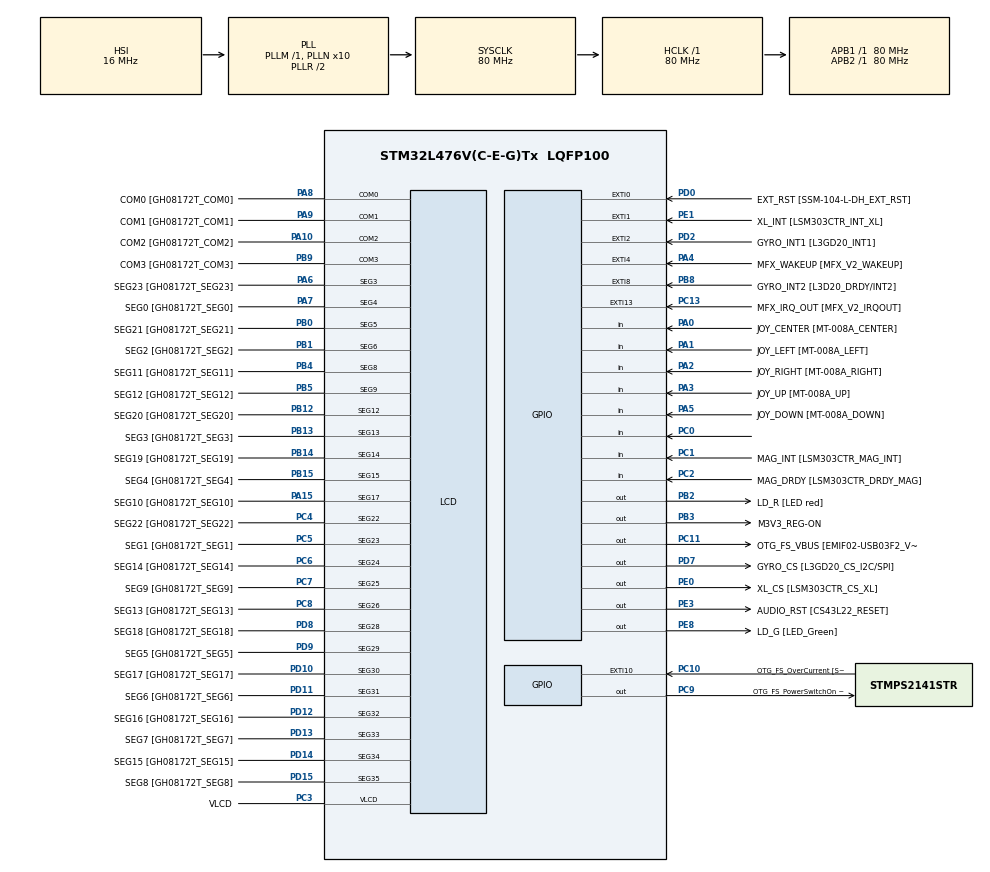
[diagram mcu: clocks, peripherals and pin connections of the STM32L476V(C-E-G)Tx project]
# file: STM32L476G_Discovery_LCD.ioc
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LCD.Bias=LCD_BIAS_1_3
LCD.Contrast=LCD_CONTRASTLEVEL_5
LCD.Divider=LCD_DIVIDER_31
LCD.PulseOnDuration=LCD_PULSEONDURATION_5
Mcu.Family=STM32L4
Mcu.Name=STM32L476V(C-E-G)Tx
Mcu.Package=LQFP100
NVIC.PriorityGroup=NVIC_PRIORITYGROUP_4
PA0.GPIO_Label=JOY_CENTER [MT-008A_CENTER]
PA0.GPIO_Mode=GPIO_MODE_INPUT
PA0.GPIO_PuPd=GPIO_PULLDOWN
PA0.Signal=GPIO_Input
PA1.GPIO_Label=JOY_LEFT [MT-008A_LEFT]
PA1.GPIO_Mode=GPIO_MODE_INPUT
PA1.GPIO_PuPd=GPIO_PULLDOWN
PA1.Signal=GPIO_Input
PA10.GPIO_Label=COM2 [GH08172T_COM2]
PA10.GPIO_Mode=GPIO_MODE_AF_PP
PA10.GPIO_PuPd=GPIO_NOPULL
PA10.GPIO_Speed=GPIO_SPEED_FREQ_LOW
PA10.Mode=1/4 Duty Cycle
PA10.Signal=LCD_COM2
PA11.GPIO_Label=OTG_FS_DM [EMIF02-USB03F2_D-out]
PA11.GPIO_Mode=GPIO_MODE_AF_PP
PA11.GPIO_PuPd=GPIO_NOPULL
PA11.GPIO_Speed=GPIO_SPEED_FREQ_VERY_HIGH
PA11.Signal=USB_OTG_FS_DM
PA12.GPIO_Label=OTG_FS_DP [EMIF02-USB03F2_D+out]
PA12.GPIO_Mode=GPIO_MODE_AF_PP
PA12.GPIO_PuPd=GPIO_NOPULL
PA12.GPIO_Speed=GPIO_SPEED_FREQ_VERY_HIGH
PA12.Signal=USB_OTG_FS_DP
PA13.GPIO_Label=SWDIO
PA13.Signal=SYS_JTMS-SWDIO
PA14.GPIO_Label=SWCLK
PA14.Signal=SYS_JTCK-SWCLK
PA15.GPIO_Label=SEG10 [GH08172T_SEG10]
PA15.GPIO_Mode=GPIO_MODE_AF_PP
PA15.GPIO_PuPd=GPIO_NOPULL
PA15.GPIO_Speed=GPIO_SPEED_FREQ_LOW
PA15.Mode=SEG17
PA15.Signal=LCD_SEG17
PA2.GPIO_Label=JOY_RIGHT [MT-008A_RIGHT]
PA2.GPIO_Mode=GPIO_MODE_INPUT
PA2.GPIO_PuPd=GPIO_PULLDOWN
PA2.Signal=GPIO_Input
PA3.GPIO_Label=JOY_UP [MT-008A_UP]
PA3.GPIO_Mode=GPIO_MODE_INPUT
PA3.GPIO_PuPd=GPIO_PULLDOWN
PA3.Signal=GPIO_Input
PA4.GPIO_Label=MFX_WAKEUP [MFX_V2_WAKEUP]
PA4.GPIO_ModeDefaultEXTI=GPIO_MODE_EVT_RISING
PA4.GPIO_PuPd=GPIO_NOPULL
PA4.Signal=GPXTI4
PA5.GPIO_Label=JOY_DOWN [MT-008A_DOWN]
PA5.GPIO_Mode=GPIO_MODE_INPUT
PA5.GPIO_PuPd=GPIO_PULLDOWN
PA5.Signal=GPIO_Input
PA6.GPIO_Label=SEG23 [GH08172T_SEG23]
PA6.GPIO_Mode=GPIO_MODE_AF_PP
PA6.GPIO_PuPd=GPIO_NOPULL
PA6.GPIO_Speed=GPIO_SPEED_FREQ_LOW
PA6.Mode=SEG3
PA6.Signal=LCD_SEG3
PA7.GPIO_Label=SEG0 [GH08172T_SEG0]
PA7.GPIO_Mode=GPIO_MODE_AF_PP
PA7.GPIO_PuPd=GPIO_NOPULL
PA7.GPIO_Speed=GPIO_SPEED_FREQ_LOW
PA7.Mode=SEG4
PA7.Signal=LCD_SEG4
PA8.GPIO_Label=COM0 [GH08172T_COM0]
PA8.GPIO_Mode=GPIO_MODE_AF_PP
PA8.GPIO_PuPd=GPIO_NOPULL
PA8.GPIO_Speed=GPIO_SPEED_FREQ_LOW
PA8.Mode=1/4 Duty Cycle
PA8.Signal=LCD_COM0
PA9.GPIO_Label=COM1 [GH08172T_COM1]
PA9.GPIO_Mode=GPIO_MODE_AF_PP
PA9.GPIO_PuPd=GPIO_NOPULL
PA9.GPIO_Speed=GPIO_SPEED_FREQ_LOW
PA9.Mode=1/4 Duty Cycle
PA9.Signal=LCD_COM1
PB0.GPIO_Label=SEG21 [GH08172T_SEG21]
PB0.GPIO_Mode=GPIO_MODE_AF_PP
PB0.GPIO_PuPd=GPIO_NOPULL
PB0.GPIO_Speed=GPIO_SPEED_FREQ_LOW
PB0.Mode=SEG5
PB0.Signal=LCD_SEG5
PB1.GPIO_Label=SEG2 [GH08172T_SEG2]
PB1.GPIO_Mode=GPIO_MODE_AF_PP
PB1.GPIO_PuPd=GPIO_NOPULL
PB1.GPIO_Speed=GPIO_SPEED_FREQ_LOW
PB1.Mode=SEG6
PB1.Signal=LCD_SEG6
PB10.GPIO_Label=MFX_I2C_SLC [MFX_V2_I2C_SCL]
PB10.GPIO_Mode=GPIO_MODE_AF_OD
PB10.GPIO_PuPdOD=GPIO_PULLUP
PB10.GPIO_Speed=GPIO_SPEED_FREQ_VERY_HIGH
PB10.Signal=I2C2_SCL
PB11.GPIO_Label=MFX_I2C_SDA [MFX_V2_I2C_SDA]
PB11.GPIO_Mode=GPIO_MODE_AF_OD
PB11.GPIO_PuPdOD=GPIO_PULLUP
PB11.GPIO_Speed=GPIO_SPEED_FREQ_VERY_HIGH
PB11.Signal=I2C2_SDA
PB12.GPIO_Label=SEG20 [GH08172T_SEG20]
PB12.GPIO_Mode=GPIO_MODE_AF_PP
PB12.GPIO_PuPd=GPIO_NOPULL
PB12.GPIO_Speed=GPIO_SPEED_FREQ_LOW
PB12.Mode=SEG12
PB12.Signal=LCD_SEG12
PB13.GPIO_Label=SEG3 [GH08172T_SEG3]
PB13.GPIO_Mode=GPIO_MODE_AF_PP
PB13.GPIO_PuPd=GPIO_NOPULL
PB13.GPIO_Speed=GPIO_SPEED_FREQ_LOW
PB13.Mode=SEG13
PB13.Signal=LCD_SEG13
PB14.GPIO_Label=SEG19 [GH08172T_SEG19]
PB14.GPIO_Mode=GPIO_MODE_AF_PP
PB14.GPIO_PuPd=GPIO_NOPULL
PB14.GPIO_Speed=GPIO_SPEED_FREQ_LOW
PB14.Mode=SEG14
PB14.Signal=LCD_SEG14
PB15.GPIO_Label=SEG4 [GH08172T_SEG4]
PB15.GPIO_Mode=GPIO_MODE_AF_PP
PB15.GPIO_PuPd=GPIO_NOPULL
PB15.GPIO_Speed=GPIO_SPEED_FREQ_LOW
PB15.Mode=SEG15
PB15.Signal=LCD_SEG15
PB2.GPIO_Label=LD_R [LED red]
PB2.GPIO_ModeDefaultOutputPP=GPIO_MODE_OUTPUT_PP
PB2.GPIO_PuPd=GPIO_PULLUP
PB2.GPIO_Speed=GPIO_SPEED_FREQ_VERY_HIGH
PB2.Signal=GPIO_Output
PB3.GPIO_Label=M3V3_REG-ON
PB3.GPIO_ModeDefaultOutputPP=GPIO_MODE_OUTPUT_PP
PB3.GPIO_PuPd=GPIO_NOPULL
PB3.GPIO_Speed=GPIO_SPEED_FREQ_LOW
PB3.Signal=GPIO_Output
PB4.GPIO_Label=SEG11 [GH08172T_SEG11]
PB4.GPIO_Mode=GPIO_MODE_AF_PP
PB4.GPIO_PuPd=GPIO_NOPULL
PB4.GPIO_Speed=GPIO_SPEED_FREQ_LOW
PB4.Mode=SEG8
PB4.Signal=LCD_SEG8
PB5.GPIO_Label=SEG12 [GH08172T_SEG12]
PB5.GPIO_Mode=GPIO_MODE_AF_PP
PB5.GPIO_PuPd=GPIO_NOPULL
PB5.GPIO_Speed=GPIO_SPEED_FREQ_LOW
PB5.Mode=SEG9
PB5.Signal=LCD_SEG9
PB6.GPIO_FM6=__NULL
PB6.GPIO_Label=I2C1_SCL [SSM-104-L-DH_SCL]
PB6.GPIO_Mode=GPIO_MODE_AF_OD
PB6.GPIO_PuPdOD=GPIO_PULLUP
PB6.GPIO_Speed=GPIO_SPEED_FREQ_VERY_HIGH
PB6.Signal=I2C1_SCL
PB7.GPIO_FM7=__NULL
PB7.GPIO_Label=I2C1_SDA [SSM-104-L-DH_SDA]
PB7.GPIO_Mode=GPIO_MODE_AF_OD
PB7.GPIO_PuPdOD=GPIO_PULLUP
PB7.GPIO_Speed=GPIO_SPEED_FREQ_VERY_HIGH
PB7.Signal=I2C1_SDA
PB8.GPIO_Label=GYRO_INT2 [L3D20_DRDY/INT2]
PB8.GPIO_ModeDefaultEXTI=GPIO_MODE_EVT_RISING
PB8.GPIO_PuPd=GPIO_NOPULL
PB8.Signal=GPXTI8
PB9.GPIO_FM9=__NULL
PB9.GPIO_Label=COM3 [GH08172T_COM3]
PB9.GPIO_Mode=GPIO_MODE_AF_PP
PB9.GPIO_PuPd=GPIO_NOPULL
PB9.GPIO_Speed=GPIO_SPEED_FREQ_LOW
PB9.Mode=1/4 Duty Cycle
PB9.Signal=LCD_COM3
PC0.Signal=GPIO_Input
PC1.GPIO_Label=MAG_INT [LSM303CTR_MAG_INT]
PC1.GPIO_Mode=GPIO_MODE_INPUT
PC1.GPIO_PuPd=GPIO_NOPULL
PC1.Signal=GPIO_Input
PC10.GPIO_Label=OTG_FS_OverCurrent [STMPS2141STR_FAULT]
PC10.GPIO_ModeDefaultEXTI=GPIO_MODE_EVT_RISING
PC10.GPIO_PuPd=GPIO_NOPULL
PC10.Signal=GPXTI10
PC11.GPIO_Label=OTG_FS_VBUS [EMIF02-USB03F2_Vbus]
PC11.GPIO_ModeDefaultOutputPP=GPIO_MODE_OUTPUT_PP
PC11.GPIO_PuPd=GPIO_NOPULL
PC11.GPIO_Speed=GPIO_SPEED_FREQ_LOW
PC11.Signal=GPIO_Output
PC13.GPIO_Label=MFX_IRQ_OUT [MFX_V2_IRQOUT]
PC13.GPIO_ModeDefaultEXTI=GPIO_MODE_EVT_RISING
PC13.GPIO_PuPd=GPIO_NOPULL
PC13.Signal=GPXTI13
PC14/OSC32_IN.Mode=LSE-External-Oscillator
PC14/OSC32_IN.Signal=RCC_OSC32_IN
PC15/OSC32_OUT.Mode=LSE-External-Oscillator
PC15/OSC32_OUT.Signal=RCC_OSC32_OUT
PC2.GPIO_Label=MAG_DRDY [LSM303CTR_DRDY_MAG]
PC2.GPIO_Mode=GPIO_MODE_INPUT
PC2.GPIO_PuPd=GPIO_NOPULL
PC2.Signal=GPIO_Input
PC3.GPIO_Label=VLCD
PC3.GPIO_Mode=GPIO_MODE_AF_PP
PC3.GPIO_PuPd=GPIO_NOPULL
PC3.GPIO_Speed=GPIO_SPEED_FREQ_LOW
PC3.Mode=1/4 Duty Cycle
PC3.Signal=LCD_VLCD
PC4.GPIO_Label=SEG22 [GH08172T_SEG22]
PC4.GPIO_Mode=GPIO_MODE_AF_PP
PC4.GPIO_PuPd=GPIO_NOPULL
PC4.GPIO_Speed=GPIO_SPEED_FREQ_LOW
PC4.Mode=SEG22
PC4.Signal=LCD_SEG22
PC5.GPIO_Label=SEG1 [GH08172T_SEG1]
PC5.GPIO_Mode=GPIO_MODE_AF_PP
PC5.GPIO_PuPd=GPIO_NOPULL
PC5.GPIO_Speed=GPIO_SPEED_FREQ_LOW
PC5.Mode=SEG23
PC5.Signal=LCD_SEG23
PC6.GPIO_Label=SEG14 [GH08172T_SEG14]
PC6.GPIO_Mode=GPIO_MODE_AF_PP
PC6.GPIO_PuPd=GPIO_NOPULL
PC6.GPIO_Speed=GPIO_SPEED_FREQ_LOW
PC6.Mode=SEG24
PC6.Signal=LCD_SEG24
PC7.GPIO_Label=SEG9 [GH08172T_SEG9]
PC7.GPIO_Mode=GPIO_MODE_AF_PP
PC7.GPIO_PuPd=GPIO_NOPULL
PC7.GPIO_Speed=GPIO_SPEED_FREQ_LOW
PC7.Mode=SEG25
PC7.Signal=LCD_SEG25
PC8.GPIO_Label=SEG13 [GH08172T_SEG13]
PC8.GPIO_Mode=GPIO_MODE_AF_PP
PC8.GPIO_PuPd=GPIO_NOPULL
PC8.GPIO_Speed=GPIO_SPEED_FREQ_LOW
PC8.Mode=SEG26
PC8.Signal=LCD_SEG26
PC9.GPIO_Label=OTG_FS_PowerSwitchOn [STMPS2141STR_EN]
PC9.GPIO_ModeDefaultOutputPP=GPIO_MODE_OUTPUT_PP
PC9.GPIO_PuPd=GPIO_NOPULL
PC9.GPIO_Speed=GPIO_SPEED_FREQ_LOW
PC9.Signal=GPIO_Output
PD0.GPIO_Label=EXT_RST [SSM-104-L-DH_EXT_RST]
PD0.GPIO_ModeDefaultEXTI=GPIO_MODE_EVT_RISING
PD0.GPIO_PuPd=GPIO_NOPULL
PD0.Signal=GPXTI0
PD1.GPIO_Label=MEMS_SCK [L3GD20_SCL/SPC]
PD1.GPIO_Mode=GPIO_MODE_AF_PP
PD1.GPIO_PuPd=GPIO_NOPULL
PD1.GPIO_Speed=GPIO_SPEED_FREQ_VERY_HIGH
PD1.Signal=SPI2_SCK
PD10.GPIO_Label=SEG17 [GH08172T_SEG17]
PD10.GPIO_Mode=GPIO_MODE_AF_PP
PD10.GPIO_PuPd=GPIO_NOPULL
PD10.GPIO_Speed=GPIO_SPEED_FREQ_LOW
PD10.Mode=SEG30
PD10.Signal=LCD_SEG30
PD11.GPIO_Label=SEG6 [GH08172T_SEG6]
PD11.GPIO_Mode=GPIO_MODE_AF_PP
PD11.GPIO_PuPd=GPIO_NOPULL
PD11.GPIO_Speed=GPIO_SPEED_FREQ_LOW
PD11.Mode=SEG31
PD11.Signal=LCD_SEG31
PD12.GPIO_Label=SEG16 [GH08172T_SEG16]
PD12.GPIO_Mode=GPIO_MODE_AF_PP
PD12.GPIO_PuPd=GPIO_NOPULL
PD12.GPIO_Speed=GPIO_SPEED_FREQ_LOW
PD12.Mode=SEG32
PD12.Signal=LCD_SEG32
PD13.GPIO_Label=SEG7 [GH08172T_SEG7]
PD13.GPIO_Mode=GPIO_MODE_AF_PP
PD13.GPIO_PuPd=GPIO_NOPULL
PD13.GPIO_Speed=GPIO_SPEED_FREQ_LOW
PD13.Mode=SEG33
PD13.Signal=LCD_SEG33
PD14.GPIO_Label=SEG15 [GH08172T_SEG15]
PD14.GPIO_Mode=GPIO_MODE_AF_PP
PD14.GPIO_PuPd=GPIO_NOPULL
PD14.GPIO_Speed=GPIO_SPEED_FREQ_LOW
PD14.Mode=SEG34
PD14.Signal=LCD_SEG34
PD15.GPIO_Label=SEG8 [GH08172T_SEG8]
PD15.GPIO_Mode=GPIO_MODE_AF_PP
PD15.GPIO_PuPd=GPIO_NOPULL
PD15.GPIO_Speed=GPIO_SPEED_FREQ_LOW
PD15.Mode=SEG35
PD15.Signal=LCD_SEG35
PD2.GPIO_Label=GYRO_INT1 [L3GD20_INT1]
PD2.GPIO_ModeDefaultEXTI=GPIO_MODE_EVT_RISING
PD2.GPIO_PuPd=GPIO_NOPULL
PD2.Signal=GPXTI2
PD3.GPIO_Label=MEMS_MISO [L3GD20_SA0/SDO]
PD3.GPIO_Mode=GPIO_MODE_AF_PP
PD3.GPIO_PuPd=GPIO_NOPULL
PD3.GPIO_Speed=GPIO_SPEED_FREQ_VERY_HIGH
PD3.Signal=SPI2_MISO
PD4.GPIO_Label=MEMS_MOSI [L3GD20_SDA/SDI/SDO]
PD4.GPIO_Mode=GPIO_MODE_AF_PP
PD4.GPIO_PuPd=GPIO_NOPULL
PD4.GPIO_Speed=GPIO_SPEED_FREQ_VERY_HIGH
PD4.Signal=SPI2_MOSI
PD5.GPIO_Label=USART_TX
PD5.GPIO_Mode=GPIO_MODE_AF_PP
PD5.GPIO_PuPd=GPIO_PULLUP
PD5.GPIO_Speed=GPIO_SPEED_FREQ_VERY_HIGH
PD5.Signal=USART2_TX
PD6.GPIO_Label=USART_RX
PD6.GPIO_Mode=GPIO_MODE_AF_PP
PD6.GPIO_PuPd=GPIO_PULLUP
PD6.GPIO_Speed=GPIO_SPEED_FREQ_VERY_HIGH
PD6.Signal=USART2_RX
PD7.GPIO_Label=GYRO_CS [L3GD20_CS_I2C/SPI]
PD7.GPIO_ModeDefaultOutputPP=GPIO_MODE_OUTPUT_PP
PD7.GPIO_PuPd=GPIO_NOPULL
PD7.GPIO_Speed=GPIO_SPEED_FREQ_VERY_HIGH
PD7.Signal=GPIO_Output
PD8.GPIO_Label=SEG18 [GH08172T_SEG18]
PD8.GPIO_Mode=GPIO_MODE_AF_PP
PD8.GPIO_PuPd=GPIO_NOPULL
PD8.GPIO_Speed=GPIO_SPEED_FREQ_LOW
PD8.Mode=SEG28
PD8.Signal=LCD_SEG28
PD9.GPIO_Label=SEG5 [GH08172T_SEG5]
PD9.GPIO_Mode=GPIO_MODE_AF_PP
PD9.GPIO_PuPd=GPIO_NOPULL
PD9.GPIO_Speed=GPIO_SPEED_FREQ_LOW
PD9.Mode=SEG29
PD9.Signal=LCD_SEG29
PE0.GPIO_Label=XL_CS [LSM303CTR_CS_XL]
PE0.GPIO_ModeDefaultOutputPP=GPIO_MODE_OUTPUT_PP
PE0.GPIO_PuPd=GPIO_NOPULL
PE0.GPIO_Speed=GPIO_SPEED_FREQ_LOW
PE0.Signal=GPIO_Output
PE1.GPIO_Label=XL_INT [LSM303CTR_INT_XL]
PE1.GPIO_ModeDefaultEXTI=GPIO_MODE_EVT_RISING
PE1.GPIO_PuPd=GPIO_NOPULL
PE1.Signal=GPXTI1
PE10.GPIO_Label=QSPI_CLK [N25Q128A13EF840E_C]
PE10.GPIO_Mode=GPIO_MODE_AF_PP
PE10.GPIO_PuPd=GPIO_NOPULL
PE10.GPIO_Speed=GPIO_SPEED_FREQ_VERY_HIGH
PE10.Signal=QUADSPI_CLK
PE11.GPIO_Label=QSPI_CS [N25Q128A13EF840E_S\#]
PE11.GPIO_Mode=GPIO_MODE_AF_PP
PE11.GPIO_PuPd=GPIO_NOPULL
PE11.GPIO_Speed=GPIO_SPEED_FREQ_VERY_HIGH
PE11.Signal=QUADSPI_NCS
PE12.GPIO_Label=QSPI_D0 [N25Q128A13EF840E_DQ0]
PE12.GPIO_Mode=GPIO_MODE_AF_PP
PE12.GPIO_PuPd=GPIO_NOPULL
PE12.GPIO_Speed=GPIO_SPEED_FREQ_VERY_HIGH
PE12.Signal=QUADSPI_BK1_IO0
PE13.GPIO_Label=QSPI_D1 [N25Q128A13EF840E_DQ1]
PE13.GPIO_Mode=GPIO_MODE_AF_PP
PE13.GPIO_PuPd=GPIO_NOPULL
PE13.GPIO_Speed=GPIO_SPEED_FREQ_VERY_HIGH
PE13.Signal=QUADSPI_BK1_IO1
PE14.GPIO_Label=QSPI_D2 [N25Q128A13EF840E_DQ2]
PE14.GPIO_Mode=GPIO_MODE_AF_PP
PE14.GPIO_PuPd=GPIO_NOPULL
PE14.GPIO_Speed=GPIO_SPEED_FREQ_VERY_HIGH
PE14.Signal=QUADSPI_BK1_IO2
PE15.GPIO_Label=QSPI_D3 [N25Q128A13EF840E_DQ3]
PE15.GPIO_Mode=GPIO_MODE_AF_PP
PE15.GPIO_PuPd=GPIO_NOPULL
PE15.GPIO_Speed=GPIO_SPEED_FREQ_VERY_HIGH
PE15.Signal=QUADSPI_BK1_IO3
PE2.GPIO_Label=SAI1_MCK [CS43L22_MCLK]
PE2.GPIO_Mode=GPIO_MODE_AF_PP
PE2.GPIO_PuPd=GPIO_NOPULL
PE2.GPIO_Speed=GPIO_SPEED_FREQ_VERY_HIGH
PE2.Signal=SAI1_MCLK_A
PE3.GPIO_Label=AUDIO_RST [CS43L22_RESET]
PE3.GPIO_ModeDefaultOutputPP=GPIO_MODE_OUTPUT_PP
PE3.GPIO_PuPd=GPIO_NOPULL
PE3.GPIO_Speed=GPIO_SPEED_FREQ_HIGH
PE3.Signal=GPIO_Output
PE4.GPIO_Label=SAI1_FS [CS43L22_LRCK]
PE4.GPIO_Mode=GPIO_MODE_AF_PP
PE4.GPIO_PuPd=GPIO_NOPULL
PE4.GPIO_Speed=GPIO_SPEED_FREQ_VERY_HIGH
PE4.Signal=SAI1_FS_A
PE5.GPIO_Label=SAI1_SCK [CS43L22_SCLK]
PE5.GPIO_Mode=GPIO_MODE_AF_PP
PE5.GPIO_PuPd=GPIO_NOPULL
PE5.GPIO_Speed=GPIO_SPEED_FREQ_VERY_HIGH
PE5.Signal=SAI1_SCK_A
PE6.GPIO_Label=SAI1_SD [CS43L22_SDIN]
PE6.GPIO_Mode=GPIO_MODE_AF_PP
PE6.GPIO_PuPd=GPIO_NOPULL
PE6.GPIO_Speed=GPIO_SPEED_FREQ_VERY_HIGH
PE6.Signal=SAI1_SD_A
PE7.GPIO_Label=AUDIO_DIN [MP34DT01_DOUT]
PE7.GPIO_Mode=GPIO_MODE_AF_PP
PE7.GPIO_PuPd=GPIO_NOPULL
PE7.GPIO_Speed=GPIO_SPEED_FREQ_VERY_HIGH
PE7.Signal=SAI1_SD_B
PE8.GPIO_Label=LD_G [LED_Green]
PE8.GPIO_ModeDefaultOutputPP=GPIO_MODE_OUTPUT_PP
PE8.GPIO_PuPd=GPIO_PULLUP
PE8.GPIO_Speed=GPIO_SPEED_FREQ_VERY_HIGH
PE8.Signal=GPIO_Output
PE9.GPIO_Label=AUDIO_CLK [MP34DT01_CLK]
PE9.GPIO_Mode=GPIO_MODE_AF_PP
PE9.GPIO_PuPd=GPIO_NOPULL
PE9.GPIO_Speed=GPIO_SPEED_FREQ_LOW
PE9.Signal=SAI1_FS_B
PH0/OSC_IN.Signal=RCC_OSC_IN
PH1/OSC_OUT.Signal=RCC_OSC_OUT
ProjectManager.HeapSize=0x200
ProjectManager.StackSize=0x400
ProjectManager.TargetToolchain=SW4STM32
RCC.ADCFreq_Value=64000000
RCC.AHBFreq_Value=80000000
RCC.APB1Freq_Value=80000000
RCC.APB1TimFreq_Value=80000000
RCC.APB2Freq_Value=80000000
RCC.APB2TimFreq_Value=80000000
RCC.CortexFreq_Value=80000000
RCC.HCLKFreq_Value=80000000
RCC.HSE_VALUE=8000000
RCC.HSI_VALUE=16000000
RCC.MSI_VALUE=4000000
RCC.PLLN=10
RCC.PLLSourceVirtual=RCC_PLLSOURCE_HSI
RCC.PREFETCH_ENABLE=1
RCC.RTCClockSelection=RCC_RTCCLKSOURCE_LSE
RCC.SYSCLKFreq_VALUE=80000000
RCC.SYSCLKSource=RCC_SYSCLKSOURCE_PLLCLK
RCC.USBFreq_Value=64000000
RCC.VCOOutputFreq_Value=160000000
board=STM32L476G-DISCO

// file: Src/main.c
/**
  ******************************************************************************
  * File Name          : main.c
  * Description        : Main program body
  ******************************************************************************
  *
  * COPYRIGHT(c) 2016 STMicroelectronics
  *
  * Redistribution and use in source and binary forms, with or without modification,
  * are permitted provided that the following conditions are met:
  *   1. Redistributions of source code must retain the above copyright notice,
  *      this list of conditions and the following disclaimer.
  *   2. Redistributions in binary form must reproduce the above copyright notice,
  *      this list of conditions and the following disclaimer in the documentation
  *      and/or other materials provided with the distribution.
  *   3. Neither the name of STMicroelectronics nor the names of its contributors
  *      may be used to endorse or promote products derived from this software
  *      without specific prior written permission.
  *
  * THIS SOFTWARE IS PROVIDED BY THE COPYRIGHT HOLDERS AND CONTRIBUTORS "AS IS"
  * AND ANY EXPRESS OR IMPLIED WARRANTIES, INCLUDING, BUT NOT LIMITED TO, THE
  * IMPLIED WARRANTIES OF MERCHANTABILITY AND FITNESS FOR A PARTICULAR PURPOSE ARE
  * DISCLAIMED. IN NO EVENT SHALL THE COPYRIGHT HOLDER OR CONTRIBUTORS BE LIABLE
  * FOR ANY DIRECT, INDIRECT, INCIDENTAL, SPECIAL, EXEMPLARY, OR CONSEQUENTIAL
  * DAMAGES (INCLUDING, BUT NOT LIMITED TO, PROCUREMENT OF SUBSTITUTE GOODS OR
  * SERVICES; LOSS OF USE, DATA, OR PROFITS; OR BUSINESS INTERRUPTION) HOWEVER
  * CAUSED AND ON ANY THEORY OF LIABILITY, WHETHER IN CONTRACT, STRICT LIABILITY,
  * OR TORT (INCLUDING NEGLIGENCE OR OTHERWISE) ARISING IN ANY WAY OUT OF THE USE
  * OF THIS SOFTWARE, EVEN IF ADVISED OF THE POSSIBILITY OF SUCH DAMAGE.
  *
  ******************************************************************************
  */
#include "stm32l4xx_hal.h"
#include "lcd.h"
#include "gpio.h"

/* USER CODE BEGIN Includes */
#include <stdio.h>
#include <stdlib.h>
/* USER CODE END Includes */

/* USER CODE BEGIN PV */
/* Private variables ---------------------------------------------------------*/

/* USER CODE END PV */

void SystemClock_Config(void);
void Error_Handler(void);

/* USER CODE BEGIN PFP */
/* Private function prototypes -----------------------------------------------*/
void delay_ms(unsigned long x);
/* USER CODE END PFP */

int main(void)
{

  /* USER CODE BEGIN 1 */
  initialise_monitor_handles();                        //to enable debug printf()
  /* USER CODE END 1 */

  /* MCU Configuration----------------------------------------------------------*/

  /* Reset of all peripherals, Initializes the Flash interface and the Systick. */
  HAL_Init();

  /* Configure the system clock */
  SystemClock_Config();

  /* Initialize all configured peripherals */
  MX_GPIO_Init();
  MX_LCD_Init();

  /* USER CODE BEGIN 2 */
  printf("LCD Program\n");
  /* USER CODE END 2 */

  /* Infinite loop */
  /* USER CODE BEGIN WHILE */
  while (1)
  {
	//display stuff on the LCD
	LCD_GLASS_Clear();
	LCD_GLASS_DisplayString("HELLO");
	delay_ms(1000);

	LCD_GLASS_Clear();
	LCD_GLASS_DisplayString("12345");
	delay_ms(1000);

	LCD_GLASS_Clear();
	LCD_GLASS_DisplayString("*-+ /");
	delay_ms(1000);
  /* USER CODE END WHILE */

  }

}

/** System Clock Configuration
*/
void SystemClock_Config(void)
{

  RCC_OscInitTypeDef RCC_OscInitStruct;
  RCC_ClkInitTypeDef RCC_ClkInitStruct;
  RCC_PeriphCLKInitTypeDef PeriphClkInit;

  RCC_OscInitStruct.OscillatorType = RCC_OSCILLATORTYPE_HSI|RCC_OSCILLATORTYPE_LSE;
  RCC_OscInitStruct.LSEState = RCC_LSE_ON;
  RCC_OscInitStruct.HSIState = RCC_HSI_ON;
  RCC_OscInitStruct.HSICalibrationValue = 16;
  RCC_OscInitStruct.PLL.PLLState = RCC_PLL_ON;
  RCC_OscInitStruct.PLL.PLLSource = RCC_PLLSOURCE_HSI;
  RCC_OscInitStruct.PLL.PLLM = 1;
  RCC_OscInitStruct.PLL.PLLN = 10;
  RCC_OscInitStruct.PLL.PLLP = RCC_PLLP_DIV7;
  RCC_OscInitStruct.PLL.PLLQ = RCC_PLLQ_DIV2;
  RCC_OscInitStruct.PLL.PLLR = RCC_PLLR_DIV2;
  if (HAL_RCC_OscConfig(&RCC_OscInitStruct) != HAL_OK)
  {
    Error_Handler();
  }

  RCC_ClkInitStruct.ClockType = RCC_CLOCKTYPE_HCLK|RCC_CLOCKTYPE_SYSCLK
                              |RCC_CLOCKTYPE_PCLK1|RCC_CLOCKTYPE_PCLK2;
  RCC_ClkInitStruct.SYSCLKSource = RCC_SYSCLKSOURCE_PLLCLK;
  RCC_ClkInitStruct.AHBCLKDivider = RCC_SYSCLK_DIV1;
  RCC_ClkInitStruct.APB1CLKDivider = RCC_HCLK_DIV1;
  RCC_ClkInitStruct.APB2CLKDivider = RCC_HCLK_DIV1;
  if (HAL_RCC_ClockConfig(&RCC_ClkInitStruct, FLASH_LATENCY_4) != HAL_OK)
  {
    Error_Handler();
  }

  PeriphClkInit.PeriphClockSelection = RCC_PERIPHCLK_RTC;
  PeriphClkInit.RTCClockSelection = RCC_RTCCLKSOURCE_LSE;
  if (HAL_RCCEx_PeriphCLKConfig(&PeriphClkInit) != HAL_OK)
  {
    Error_Handler();
  }

  __HAL_RCC_PWR_CLK_ENABLE();

  if (HAL_PWREx_ControlVoltageScaling(PWR_REGULATOR_VOLTAGE_SCALE1) != HAL_OK)
  {
    Error_Handler();
  }

  HAL_SYSTICK_Config(HAL_RCC_GetHCLKFreq()/1000);

  HAL_SYSTICK_CLKSourceConfig(SYSTICK_CLKSOURCE_HCLK);

  /* SysTick_IRQn interrupt configuration */
  HAL_NVIC_SetPriority(SysTick_IRQn, 0, 0);
}

/* USER CODE BEGIN 4 */
//delay milliseconds function
void delay_ms(unsigned long x)
{
  unsigned long i;
  unsigned int j;
  for(i=0; i<x; i++)
  {
	for(j=0; j<16000; j++)
	{
	   asm("NOP");
	}
  }
}
/* USER CODE END 4 */

void Error_Handler(void)
{
  while(1)
  {
  }
}

/************************ (C) COPYRIGHT STMicroelectronics *****END OF FILE****/
